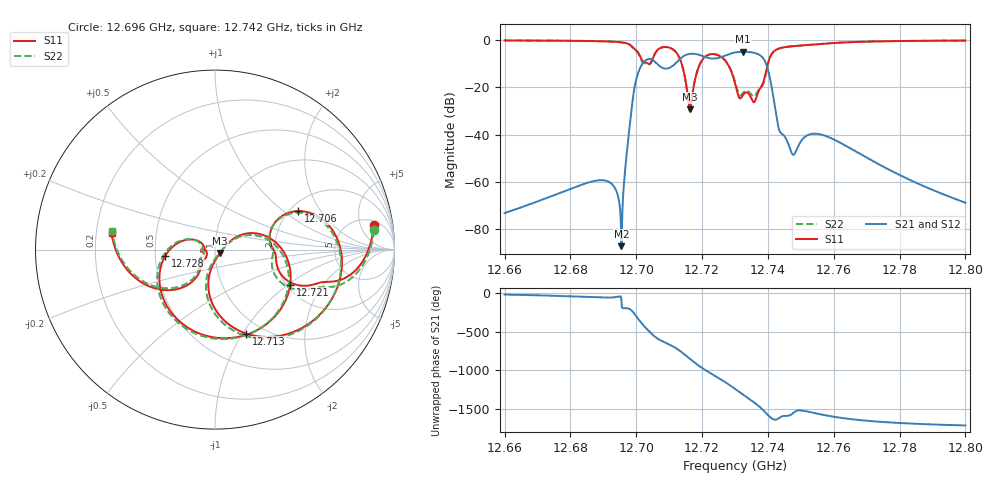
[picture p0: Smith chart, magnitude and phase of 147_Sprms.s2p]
! TOUCHSTONE file generated by CST MICROWAVE STUDIO
! Date and time: Wed Jul 31 18:15:02 2024
! Project name: WaveGuide_BPF-Ver4.1_U-shape_Ku_T3_C4_CWA_2.cst
! Parameters = {cavity_h=16; cavity_l0=10; cavity_l1=15.1698; cavity_l2=16.8331; cavity_l3=17.1332; cavity_l4=17.2931; cavity_l5=17.1545; cavity_l6=17.6369; cavity_r=2.5; cavity_screw_l=0.5; cavity_screw_r=1.5; cavity_w=8; iris_h00=0; iris_h01=8.8375; iris_h112=0; iris_h12=5.6094; iris_h211=3.6603; 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
! Header version: 2018
! Port assignment regex: !\s*Touchstone port\s*([0-9]+)\s*=\s*(CST MWS port|CST DS port)\s*([0-9]+|Zmin|Zmax)\s*\(\"(.*)\"\)(\s*mode\s*([0-9]+))?.*
! Touchstone port assignment:
! Touchstone port 1 = CST MWS port 1 ("")
! Touchstone port 2 = CST MWS port 2 ("")
# GHz S RI R 50
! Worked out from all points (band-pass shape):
!   5001 points, 12.66 GHz to 12.8 GHz, reference 50 ohm
!   highest |S21| = -4.96 dB at 12.732 GHz (marker M1); lowest = -87.2 dB at 12.696 GHz (marker M2)
!   |S21| within 3 dB of the highest: 12.70396 GHz to 12.7042 GHz (244 kHz wide, 0.00192 % of centre); 12.71331 GHz to 12.7387 GHz (25.39 MHz wide, 0.199 % of centre)
!   lowest |S11| = -29.4 dB at 12.716 GHz (marker M3), VSWR 1.07, Z = 52.9 - j2.02 ohm
!   |S11| at or under -10 dB: 12.70363 GHz to 12.70421 GHz (578.7 kHz wide, 0.00456 % of centre); 12.7138 GHz to 12.71939 GHz (5.594 MHz wide, 0.044 % of centre); 12.72769 GHz to 12.73997 GHz (12.28 MHz wide, 0.0965 % of centre)
!   |S22| runs from -30.0 to -0.2 dB; largest |S21 - S12| = 1e-09
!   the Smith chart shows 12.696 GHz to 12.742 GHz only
!   S11 on the Smith chart (normalised r, x): 12.696 GHz: 6, +9; 12.706 GHz: 2.22, +1.29; 12.713 GHz: 0.83, -1.04; 12.721 GHz: 2.09, -1.04; 12.728 GHz: 0.56, -0.04; 12.742 GHz: 0.26, +0.07
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12.66  0.2904 0.9385  0.000204 -7.91e-05  0.000204 -7.91e-05  0.2981 0.936
12.68335  0.6832 0.6773  0.00056 -0.000664  0.00056 -0.000664  0.6942 0.6651
12.6955  0.8845 0.1447  -1.51e-05 -4.08e-05  -1.51e-05 -4.08e-05  0.8861 0.1141
12.69559  0.8841 0.1377  -7.17e-05 -1.1e-05  -7.17e-05 -1.1e-05  0.8854 0.1069
12.69987  0.5856 -0.1838  0.0633 0.1211  0.0633 0.1211  0.5614 -0.2121
12.70301  0.3354 -0.0203  -0.0599 -0.3741  -0.0599 -0.3741  0.3228 -0.0143
12.70564  0.4638 0.2144  -0.3143 0.1528  -0.3143 0.1528  0.4652 0.2056
12.70668  0.6204 0.1496  -0.1644 0.2481  -0.1644 0.2481  0.6208 0.1349
12.71256  0.1753 -0.4683  0.3505 -0.0547  0.3505 -0.0547  0.1497 -0.4734
12.71631  0.0281 -0.0191  -0.3529 -0.3689  -0.3529 -0.3689  0.027 -0.0169
12.72126  0.4186 -0.1964  0.122 0.412  0.122 0.412  0.405 -0.2217
12.72812  -0.2779 -0.0365  -0.1363 -0.4833  -0.1363 -0.4833  -0.2858 -0.0298
12.73  -0.1107 0.0537  -0.5204 -0.169  -0.5204 -0.169  -0.1196 0.0549
12.73246  -0.0685 -0.014  -0.3151 0.4688  -0.3151 0.4688  -0.0758 -0.0113
12.73616  -0.0452 -0.0269  0.5211 0.097  0.5211 0.097  -0.063 -0.0244
12.73843  -0.0773 -0.0903  0.1278 -0.4041  0.1278 -0.4041  -0.0838 -0.0716
12.7419  -0.5764 0.09  -0.0465 0.016  -0.0465 0.016  -0.5726 0.1032
12.7475  0.3268 0.6663  -0.00196 -0.00325  -0.00196 -0.00325  0.3507 0.6518
12.75335  0.7725 -0.2124  -0.00324 -0.00986  -0.00324 -0.00986  0.7608 -0.2515
12.76164  0.0267 -0.8796  -0.00688 -0.000735  -0.00688 -0.000735  -0.0104 -0.8821
12.77668  -0.8252 -0.4668  -0.00102 0.00152  -0.00102 0.00152  -0.8359 -0.4499
12.8  -0.965 0.1551  3.7e-05 0.00036  3.7e-05 0.00036  -0.964 0.1637
